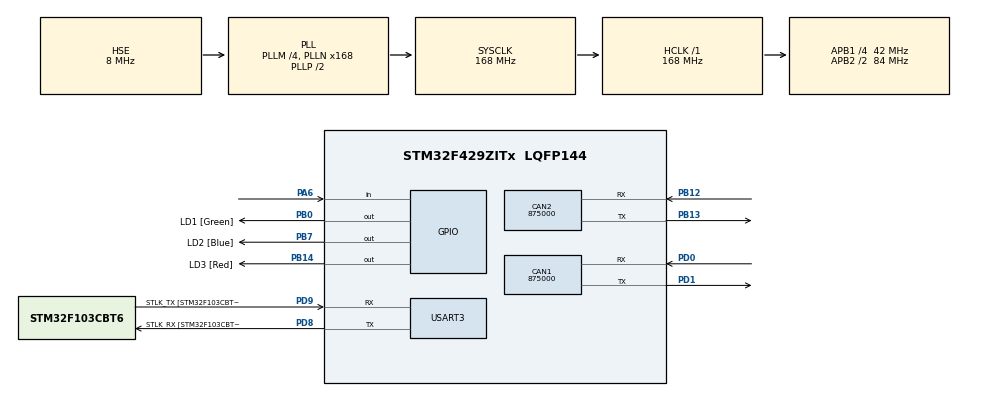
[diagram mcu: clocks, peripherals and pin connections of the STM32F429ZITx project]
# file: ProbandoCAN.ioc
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CAN1.CalculateBaudRate=875000
CAN1.CalculateTimeBit=1142
CAN1.CalculateTimeQuantum=380.95238095238096
CAN1.NART=DISABLE
CAN2.CalculateBaudRate=875000
CAN2.CalculateTimeBit=1142
CAN2.CalculateTimeQuantum=380.95238095238096
CAN2.NART=DISABLE
Mcu.Family=STM32F4
Mcu.Name=STM32F429ZITx
Mcu.Package=LQFP144
NVIC.PriorityGroup=NVIC_PRIORITYGROUP_4
PA6.Signal=GPIO_Input
PB0.GPIO_Label=LD1 [Green]
PB0.Signal=GPIO_Output
PB12.Mode=CAN_Activate
PB12.Signal=CAN2_RX
PB13.Mode=CAN_Activate
PB13.Signal=CAN2_TX
PB14.GPIO_Label=LD3 [Red]
PB14.Signal=GPIO_Output
PB7.GPIO_Label=LD2 [Blue]
PB7.Signal=GPIO_Output
PC14/OSC32_IN.Mode=LSE-External-Oscillator
PC14/OSC32_IN.Signal=RCC_OSC32_IN
PC15/OSC32_OUT.Mode=LSE-External-Oscillator
PC15/OSC32_OUT.Signal=RCC_OSC32_OUT
PD0.Mode=CAN_Activate
PD0.Signal=CAN1_RX
PD1.Mode=CAN_Activate
PD1.Signal=CAN1_TX
PD8.GPIO_Label=STLK_RX [STM32F103CBT6_PA3]
PD8.Mode=Asynchronous
PD8.Signal=USART3_TX
PD9.GPIO_Label=STLK_TX [STM32F103CBT6_PA2]
PD9.Mode=Asynchronous
PD9.Signal=USART3_RX
PH0/OSC_IN.GPIO_Label=MCO [STM32F103CBT6_PA8]
PH0/OSC_IN.Mode=HSE-External-Clock-Source
PH0/OSC_IN.Signal=RCC_OSC_IN
PH1/OSC_OUT.Mode=HSE-External-Clock-Source
PH1/OSC_OUT.Signal=RCC_OSC_OUT
ProjectManager.HeapSize=0x200
ProjectManager.StackSize=0x400
ProjectManager.TargetToolchain=STM32CubeIDE
RCC.48MHZClocksFreq_Value=48000000
RCC.AHBFreq_Value=168000000
RCC.APB1CLKDivider=RCC_HCLK_DIV4
RCC.APB1Freq_Value=42000000
RCC.APB1TimFreq_Value=84000000
RCC.APB2CLKDivider=RCC_HCLK_DIV2
RCC.APB2Freq_Value=84000000
RCC.APB2TimCLKDivider=2
RCC.APB2TimFreq_Value=168000000
RCC.CortexFreq_Value=168000000
RCC.HCLKFreq_Value=168000000
RCC.HSE_VALUE=8000000
RCC.HSI_VALUE=16000000
RCC.PLLM=4
RCC.PLLMUL=RCC_PLL_MUL9
RCC.PLLN=168
RCC.PLLQ=7
RCC.PLLSourceVirtual=RCC_PLLSOURCE_HSE
RCC.PRESCALERUSB=RCC_USBCLKSOURCE_PLL_DIV1_5
RCC.SYSCLKFreq_VALUE=168000000
RCC.SYSCLKSource=RCC_SYSCLKSOURCE_PLLCLK
RCC.SYSCLKSourceVirtual=RCC_SYSCLKSOURCE_PLLCLK
RCC.USBFreq_Value=48000000
RCC.VCOOutputFreq_Value=336000000
USART3.VirtualMode=VM_ASYNC
board=NUCLEO-F429ZI

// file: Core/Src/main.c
/* USER CODE BEGIN Header */
/**
  ******************************************************************************
  * @file           : main.c
  * @brief          : Main program body
  ******************************************************************************
  * @attention
  *
  * Copyright (c) 2022 STMicroelectronics.
  * All rights reserved.
  *
  * This software is licensed under terms that can be found in the LICENSE file
  * in the root directory of this software component.
  * If no LICENSE file comes with this software, it is provided AS-IS.
  *
  ******************************************************************************
  */
/* USER CODE END Header */
#include "main.h"

/* USER CODE BEGIN Includes */

#include <stdbool.h>
#include <string.h>
/* USER CODE END Includes */

 CAN_HandleTypeDef hcan1;
CAN_HandleTypeDef hcan2;

UART_HandleTypeDef huart3;

/* USER CODE BEGIN PV */
UART_HandleTypeDef huart3;
CAN_TxHeaderTypeDef pTxHeader;
CAN_RxHeaderTypeDef pRxHeader;
CAN_FilterTypeDef sFilterConfig;

uint32_t pTxMailbox = 4;
uint8_t  txData[4]="CAN";
uint8_t txprueba[4];
uint8_t  paraCAN[4];
uint8_t tamaño = 4;

/* USER CODE END PV */

void SystemClock_Config(void);
static void MX_GPIO_Init(void);
static void MX_USART3_UART_Init(void);
static void MX_CAN1_Init(void);
static void MX_CAN2_Init(void);

int main(void)
{

  /* MCU Configuration--------------------------------------------------------*/

  /* Reset of all peripherals, Initializes the Flash interface and the Systick. */
  HAL_Init();

  /* Configure the system clock */
  SystemClock_Config();

  /* Initialize all configured peripherals */
  MX_GPIO_Init();
  MX_USART3_UART_Init();
  MX_CAN1_Init();
  MX_CAN2_Init();
  /* USER CODE BEGIN 2 */

  //Se configuran los filtros para el puerto CAN

  sFilterConfig.FilterFIFOAssignment=CAN_FILTER_FIFO0;
  sFilterConfig.FilterIdHigh=0x12<<5;
  sFilterConfig.FilterIdLow=0;
  sFilterConfig.FilterMaskIdHigh=0;
  sFilterConfig.FilterMaskIdLow=0;
  sFilterConfig.FilterScale=CAN_FILTERSCALE_32BIT;
  sFilterConfig.FilterActivation=ENABLE;

  HAL_CAN_ConfigFilter(&hcan1,&sFilterConfig);
  HAL_CAN_Start(&hcan1);

  HAL_CAN_ConfigFilter(&hcan2,&sFilterConfig);

  HAL_CAN_Start(&hcan2);

  /* USER CODE END 2 */

  /* Infinite loop */
  /* USER CODE BEGIN WHILE */

  while (1)
  	  {
  	  		  HAL_CAN_AddTxMessage(&hcan1, &pTxHeader, txData, &pTxMailbox);

  	  		  HAL_Delay(500);
  	  	  	  HAL_CAN_GetRxMessage(&hcan2, tamaño, &pRxHeader, paraCAN);
  	  }

}
    /* USER CODE END WHILE */

void SystemClock_Config(void)
{
  RCC_OscInitTypeDef RCC_OscInitStruct = {0};
  RCC_ClkInitTypeDef RCC_ClkInitStruct = {0};

  /** Configure the main internal regulator output voltage
  */
  __HAL_RCC_PWR_CLK_ENABLE();
  __HAL_PWR_VOLTAGESCALING_CONFIG(PWR_REGULATOR_VOLTAGE_SCALE1);

  /** Initializes the RCC Oscillators according to the specified parameters
  * in the RCC_OscInitTypeDef structure.
  */
  RCC_OscInitStruct.OscillatorType = RCC_OSCILLATORTYPE_HSE;
  RCC_OscInitStruct.HSEState = RCC_HSE_BYPASS;
  RCC_OscInitStruct.PLL.PLLState = RCC_PLL_ON;
  RCC_OscInitStruct.PLL.PLLSource = RCC_PLLSOURCE_HSE;
  RCC_OscInitStruct.PLL.PLLM = 4;
  RCC_OscInitStruct.PLL.PLLN = 168;
  RCC_OscInitStruct.PLL.PLLP = RCC_PLLP_DIV2;
  RCC_OscInitStruct.PLL.PLLQ = 7;
  if (HAL_RCC_OscConfig(&RCC_OscInitStruct) != HAL_OK)
  {
    Error_Handler();
  }

  /** Initializes the CPU, AHB and APB buses clocks
  */
  RCC_ClkInitStruct.ClockType = RCC_CLOCKTYPE_HCLK|RCC_CLOCKTYPE_SYSCLK
                              |RCC_CLOCKTYPE_PCLK1|RCC_CLOCKTYPE_PCLK2;
  RCC_ClkInitStruct.SYSCLKSource = RCC_SYSCLKSOURCE_PLLCLK;
  RCC_ClkInitStruct.AHBCLKDivider = RCC_SYSCLK_DIV1;
  RCC_ClkInitStruct.APB1CLKDivider = RCC_HCLK_DIV4;
  RCC_ClkInitStruct.APB2CLKDivider = RCC_HCLK_DIV2;

  if (HAL_RCC_ClockConfig(&RCC_ClkInitStruct, FLASH_LATENCY_5) != HAL_OK)
  {
    Error_Handler();
  }
}

static void MX_CAN1_Init(void)
{

  hcan1.Instance = CAN1;
  hcan1.Init.Prescaler = 16;
  hcan1.Init.Mode = CAN_MODE_NORMAL;
  hcan1.Init.SyncJumpWidth = CAN_SJW_1TQ;
  hcan1.Init.TimeSeg1 = CAN_BS1_1TQ;
  hcan1.Init.TimeSeg2 = CAN_BS2_1TQ;
  hcan1.Init.TimeTriggeredMode = DISABLE;
  hcan1.Init.AutoBusOff = DISABLE;
  hcan1.Init.AutoWakeUp = DISABLE;
  hcan1.Init.AutoRetransmission = DISABLE;
  hcan1.Init.ReceiveFifoLocked = DISABLE;
  hcan1.Init.TransmitFifoPriority = DISABLE;
  if (HAL_CAN_Init(&hcan1) != HAL_OK)
  {
    Error_Handler();
  }

}

static void MX_CAN2_Init(void)
{

  hcan2.Instance = CAN2;
  hcan2.Init.Prescaler = 16;
  hcan2.Init.Mode = CAN_MODE_NORMAL;
  hcan2.Init.SyncJumpWidth = CAN_SJW_1TQ;
  hcan2.Init.TimeSeg1 = CAN_BS1_1TQ;
  hcan2.Init.TimeSeg2 = CAN_BS2_1TQ;
  hcan2.Init.TimeTriggeredMode = DISABLE;
  hcan2.Init.AutoBusOff = DISABLE;
  hcan2.Init.AutoWakeUp = DISABLE;
  hcan2.Init.AutoRetransmission = DISABLE;
  hcan2.Init.ReceiveFifoLocked = DISABLE;
  hcan2.Init.TransmitFifoPriority = DISABLE;
  if (HAL_CAN_Init(&hcan2) != HAL_OK)
  {
    Error_Handler();
  }

}

static void MX_USART3_UART_Init(void)
{

  huart3.Instance = USART3;
  huart3.Init.BaudRate = 115200;
  huart3.Init.WordLength = UART_WORDLENGTH_8B;
  huart3.Init.StopBits = UART_STOPBITS_1;
  huart3.Init.Parity = UART_PARITY_NONE;
  huart3.Init.Mode = UART_MODE_TX_RX;
  huart3.Init.HwFlowCtl = UART_HWCONTROL_NONE;
  huart3.Init.OverSampling = UART_OVERSAMPLING_16;
  if (HAL_UART_Init(&huart3) != HAL_OK)
  {
    Error_Handler();
  }

}

static void MX_GPIO_Init(void)
{
  GPIO_InitTypeDef GPIO_InitStruct = {0};

  /* GPIO Ports Clock Enable */
  __HAL_RCC_GPIOC_CLK_ENABLE();
  __HAL_RCC_GPIOH_CLK_ENABLE();
  __HAL_RCC_GPIOA_CLK_ENABLE();
  __HAL_RCC_GPIOB_CLK_ENABLE();
  __HAL_RCC_GPIOD_CLK_ENABLE();

  /*Configure GPIO pin Output Level */
  HAL_GPIO_WritePin(GPIOB, LD1_Pin|LD3_Pin|LD2_Pin, GPIO_PIN_RESET);

  /*Configure GPIO pin : PA6 */
  GPIO_InitStruct.Pin = GPIO_PIN_6;
  GPIO_InitStruct.Mode = GPIO_MODE_INPUT;
  GPIO_InitStruct.Pull = GPIO_NOPULL;
  HAL_GPIO_Init(GPIOA, &GPIO_InitStruct);

  /*Configure GPIO pins : LD1_Pin LD3_Pin LD2_Pin */
  GPIO_InitStruct.Pin = LD1_Pin|LD3_Pin|LD2_Pin;
  GPIO_InitStruct.Mode = GPIO_MODE_OUTPUT_PP;
  GPIO_InitStruct.Pull = GPIO_NOPULL;
  GPIO_InitStruct.Speed = GPIO_SPEED_FREQ_LOW;
  HAL_GPIO_Init(GPIOB, &GPIO_InitStruct);

}

void Error_Handler(void)
{
  __disable_irq();
  while (1)
  {
  }
}
